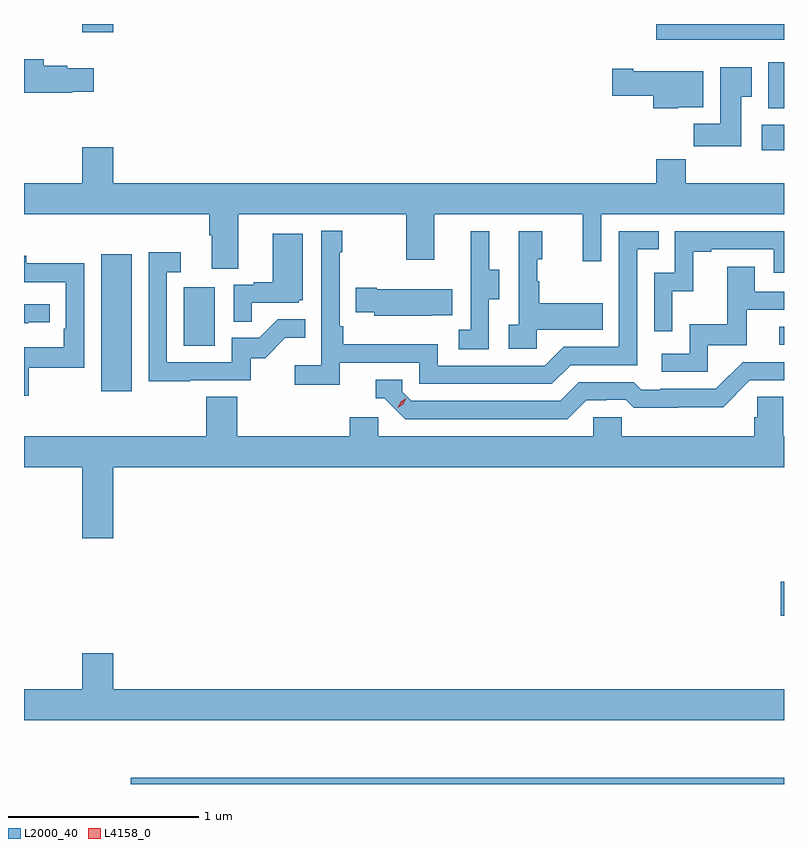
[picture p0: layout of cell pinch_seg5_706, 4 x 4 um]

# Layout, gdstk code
import gdstk
lib = gdstk.Library(unit=1e-6, precision=1e-09)
def R(c, l, rs):  # rectangles x0, y0, x1, y1
    for r in rs: c.add(gdstk.rectangle(r[:2], r[2:], *l))
def P(c, l, *ps):  # polygons
    for p in ps: c.add(gdstk.Polygon(p, *l))
L2000_40 = (2000, 40)
L4158_0 = (4158, 0)

pinch_seg5_706 = lib.new_cell('pinch_seg5_706')
R(pinch_seg5_706, L2000_40, [(1088.339,851.097,1091.777,851.131), (1091.76,851.983,1091.777,852.161), (1088.183,853.164,1088.344,853.885), (1088.618,853.404,1088.782,853.711), (1091.751,853.41,1091.777,853.503), (1091.661,854.432,1091.777,854.566), (1091.693,854.654,1091.777,854.896), (1091.105,855.014,1091.777,855.097), (1088.084,855.054,1088.248,855.097)])
P(pinch_seg5_706, L2000_40, [(1088.03,854.741),(1088.143,854.741),(1088.143,854.863),(1088.004,854.863),(1088.004,854.876),(1087.882,854.876),(1087.882,854.912),(1087.777,854.912),(1087.777,854.734),(1088.03,854.734)],
  [(1091.551,854.713),(1091.608,854.713),(1091.608,854.869),(1091.441,854.869),(1091.441,854.572),(1091.302,854.572),(1091.302,854.454),(1091.551,854.454)],
  [(1091.22,854.66),(1091.353,854.66),(1091.353,854.848),(1090.984,854.848),(1090.984,854.861),(1090.872,854.861),(1090.872,854.719),(1091.09,854.719),(1091.09,854.654),(1091.22,854.654)],
  [(1088.905,854.096),(1089.79,854.096),(1089.79,853.857),(1089.937,853.857),(1089.937,854.096),(1090.718,854.096),(1090.718,853.848),(1090.815,853.848),(1090.815,854.096),(1091.777,854.096),(1091.777,854.26),(1091.261,854.26),(1091.261,854.384),(1091.105,854.384),(1091.105,854.26),(1088.248,854.26),(1088.248,854.449),(1088.084,854.449),(1088.084,854.26),(1087.777,854.26),(1087.777,854.096),(1088.753,854.096),(1088.753,853.984),(1088.765,853.984),(1088.765,853.81),(1088.905,853.81)],
  [(1089.44,853.314),(1089.858,853.314),(1089.858,853.203),(1090.555,853.203),(1090.654,853.302),(1091.004,853.302),(1091.004,853.911),(1091.117,853.911),(1091.117,854.007),(1090.908,854.007),(1090.908,853.398),(1090.617,853.398),(1090.518,853.299),(1089.954,853.299),(1089.954,853.411),(1089.458,853.411),(1089.458,853.507),(1089.438,853.507),(1089.438,853.895),(1089.451,853.895),(1089.451,854.008),(1089.342,854.008),(1089.342,853.3),(1089.201,853.3),(1089.201,853.198),(1089.44,853.198)],
  [(1091.19,853.691),(1091.3,853.691),(1091.3,853.899),(1091.395,853.899),(1091.395,853.911),(1091.724,853.911),(1091.724,853.788),(1091.777,853.788),(1091.777,854.007),(1091.202,854.007),(1091.202,853.788),(1091.094,853.788),(1091.094,853.479),(1091.19,853.479)],
  [(1090.224,853.648),(1090.279,853.648),(1090.279,853.803),(1090.225,853.803),(1090.225,854.005),(1090.127,854.005),(1090.127,853.791),(1090.128,853.791),(1090.128,853.487),(1090.065,853.487),(1090.065,853.384),(1090.224,853.384)],
  [(1090.476,853.487),(1090.823,853.487),(1090.823,853.627),(1090.489,853.627),(1090.489,853.742),(1090.479,853.742),(1090.479,853.86),(1090.504,853.86),(1090.504,854.005),(1090.38,854.005),(1090.38,853.514),(1090.329,853.514),(1090.329,853.389),(1090.476,853.389)],
  [(1088.975,853.629),(1089.222,853.629),(1089.222,853.644),(1089.244,853.644),(1089.244,853.993),(1089.086,853.993),(1089.086,853.738),(1088.987,853.738),(1088.987,853.725),(1088.88,853.725),(1088.88,853.531),(1088.975,853.531)],
  [(1088.651,853.221),(1088.97,853.221),(1088.97,853.338),(1089.046,853.338),(1089.153,853.445),(1089.257,853.445),(1089.257,853.544),(1089.113,853.544),(1089.015,853.446),(1088.871,853.446),(1088.871,853.317),(1088.529,853.317),(1088.529,853.791),(1088.602,853.791),(1088.602,853.897),(1088.433,853.897),(1088.433,853.216),(1088.651,853.216)],
  [(1087.801,853.287),(1088.094,853.287),(1088.094,853.838),(1087.789,853.838),(1087.789,853.876),(1087.777,853.876),(1087.777,853.737),(1087.998,853.737),(1087.998,853.492),(1087.985,853.492),(1087.985,853.396),(1087.777,853.396),(1087.777,853.14),(1087.801,853.14)],
  [(1091.376,853.407),(1091.581,853.407),(1091.581,853.593),(1091.777,853.593),(1091.777,853.689),(1091.623,853.689),(1091.623,853.819),(1091.479,853.819),(1091.479,853.516),(1091.28,853.516),(1091.28,853.362),(1091.133,853.362),(1091.133,853.266),(1091.376,853.266)],
  [(1089.923,853.565),(1090.031,853.565),(1090.031,853.702),(1089.634,853.702),(1089.634,853.71),(1089.523,853.71),(1089.523,853.58),(1089.621,853.58),(1089.621,853.562),(1089.923,853.562)],
  [(1087.799,853.527),(1087.912,853.527),(1087.912,853.623),(1087.777,853.623),(1087.777,853.522),(1087.799,853.522)],
  [(1090.735,853.116),(1090.842,853.116),(1090.842,853.119),(1090.945,853.119),(1090.987,853.077),(1091.22,853.077),(1091.22,853.079),(1091.456,853.079),(1091.598,853.221),(1091.777,853.221),(1091.777,853.317),(1091.559,853.317),(1091.418,853.176),(1091.125,853.176),(1091.125,853.173),(1091.026,853.173),(1090.987,853.212),(1090.698,853.212),(1090.599,853.113),(1089.816,853.113),(1089.768,853.161),(1089.768,853.224),(1089.629,853.224),(1089.629,853.128),(1089.672,853.128),(1089.783,853.017),(1090.636,853.017)],
  [(1091.777,852.928),(1091.772,852.928),(1091.772,853.136),(1091.635,853.136),(1091.635,853.026),(1091.621,853.026),(1091.621,852.928),(1090.923,852.928),(1090.923,853.026),(1090.773,853.026),(1090.773,852.928),(1089.642,852.928),(1089.642,853.026),(1089.491,853.026),(1089.491,852.928),(1088.9,852.928),(1088.9,853.136),(1088.735,853.136),(1088.735,852.928),(1087.777,852.928),(1087.777,852.764),(1088.084,852.764),(1088.084,852.39),(1088.248,852.39),(1088.248,852.764),(1091.777,852.764)],
  [(1091.777,851.596),(1088.248,851.596),(1088.248,851.785),(1088.084,851.785),(1088.084,851.596),(1087.777,851.596),(1087.777,851.432),(1091.777,851.432)])
P(pinch_seg5_706, L4158_0, [(1089.743,853.077),(1089.743,853.077),(1089.759,853.109),(1089.79,853.128),(1089.79,853.128),(1089.79,853.128),(1089.774,853.096),(1089.743,853.077)])

lib.write_gds('pinch_seg5_706.gds')
